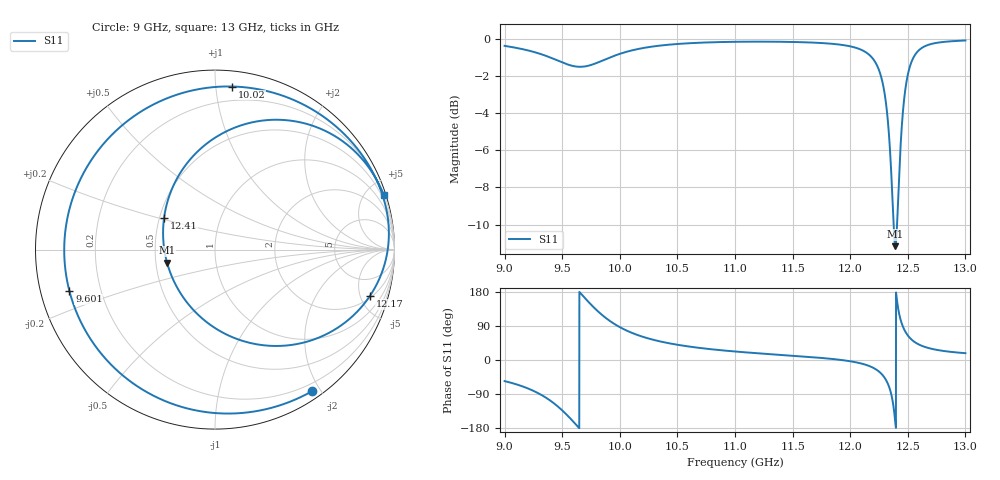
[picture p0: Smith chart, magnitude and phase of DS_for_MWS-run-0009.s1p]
! TOUCHSTONE file generated by CST DESIGN STUDIO
! Date and time: Tue Feb  4 16:28:41 2025
! Project name: C:\Work\MatlabApps\UnitCellOptimizationMatlab\CST\unitcell.cst
! Tree item: Tasks\Sweep1\SPara1\S-Parameters
! Header version: 2024
! Port assignment regex: !\s*Touchstone port\s*([0-9]+)\s*=\s*(CST MWS port|CST DES external port|CST DES block port)\s*(.+)\s* \(\"(.*)\"\)(\s*mode\s*([0-9]+))?.*
! Touchstone port assignment:
! Touchstone port 1 = CST DES external port 1 ("")
# GHz S MA R 50
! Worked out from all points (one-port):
!   4001 points, 9 GHz to 13 GHz, reference 50 ohm
!   lowest |S11| = -11.2 dB at 12.39 GHz (marker M1), VSWR 1.77, Z = 28.7 - j4.49 ohm
!   |S11| at or under -10 dB: 12.37688 GHz to 12.4067 GHz (29.82 MHz wide, 0.241 % of centre)
!   S11 on the Smith chart (normalised r, x): 9 GHz: 0.10, -1.89; 9.601 GHz: 0.09, -0.14; 10.02 GHz: 0.10, +1.11; 12.17 GHz: 2.20, -6.04; 12.41 GHz: 0.53, +0.21; 13 GHz: 0.23, +6.30
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9  0.9563 -55.7
9.167  0.9353 -70.9
9.319  0.9079 -92.1
9.415  0.885 -111.3
9.5  0.8631 -132.9
9.601  0.8433 -164.2
9.697  0.842 163.5
9.808  0.8623 129.1
9.897  0.8855 106.7
10  0.9102 86.7
10.017  0.9137 84.0
10.228  0.9465 58.6
10.5  0.9674 40.2
11  0.9806 22.5
11.5  0.9796 11.3
12  0.9535 -3.3
12.172  0.9008 -16.7
12.261  0.8044 -33.4
12.325  0.6102 -61.3
12.359  0.4196 -93.7
12.392  0.2769 -164.8
12.41  0.3337 148.3
12.433  0.4856 111.4
12.453  0.6108 91.8
12.5  0.7995 64.8
12.563  0.9047 46.7
12.65  0.9546 34.3
13  0.9888 18.0
